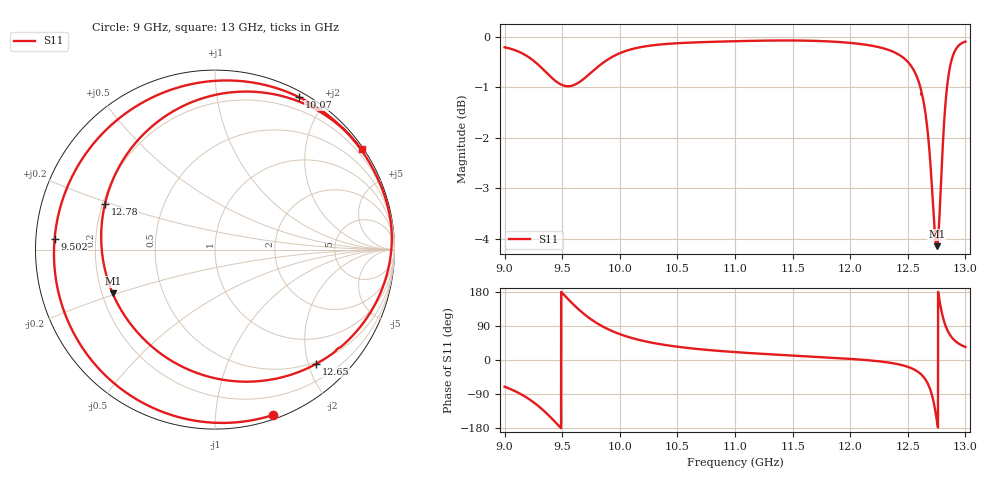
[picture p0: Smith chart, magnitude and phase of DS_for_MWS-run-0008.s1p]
! TOUCHSTONE file generated by CST DESIGN STUDIO
! Date and time: Tue Feb  4 16:48:27 2025
! Project name: C:\Work\MatlabApps\UnitCellOptimizationMatlab\CST\unitcell.cst
! Tree item: Tasks\Sweep1\SPara1\S-Parameters
! Header version: 2024
! Port assignment regex: !\s*Touchstone port\s*([0-9]+)\s*=\s*(CST MWS port|CST DES external port|CST DES block port)\s*(.+)\s* \(\"(.*)\"\)(\s*mode\s*([0-9]+))?.*
! Touchstone port assignment:
! Touchstone port 1 = CST DES external port 1 ("")
# GHz S MA R 50
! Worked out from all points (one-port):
!   4001 points, 9 GHz to 13 GHz, reference 50 ohm
!   lowest |S11| = -4.1 dB at 12.75 GHz (marker M1), VSWR 4.27, Z = 12.2 - j9.67 ohm
!   |S11| at or under -10 dB: nowhere
!   S11 on the Smith chart (normalised r, x): 9 GHz: 0.04, -1.41; 9.502 GHz: 0.06, +0.03; 10.07 GHz: 0.06, +1.69; 12.65 GHz: 0.46, -2.14; 12.78 GHz: 0.21, +0.19; 13 GHz: 0.06, +3.24
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9  0.9766 -70.6
9.159  0.9624 -93.2
9.273  0.9426 -116.6
9.402  0.9126 -152.0
9.5  0.8959 176.9
9.502  0.8957 176.2
9.617  0.8976 140.7
9.721  0.9155 113.9
9.84  0.9399 90.3
10  0.9635 68.3
10.069  0.9699 61.2
10.5  0.9857 35.0
11  0.9902 20.9
11.5  0.9919 11.8
12  0.9864 3.0
12.309  0.9727 -5.7
12.5  0.9447 -18.0
12.588  0.9073 -31.1
12.646  0.8508 -48.4
12.678  0.7939 -65.1
12.709  0.7119 -91.7
12.73  0.6504 -119.5
12.751  0.6203 -156.8
12.775  0.664 157.4
12.805  0.7853 112.8
12.837  0.8841 83.1
12.903  0.9652 52.6
13  0.9893 34.3
